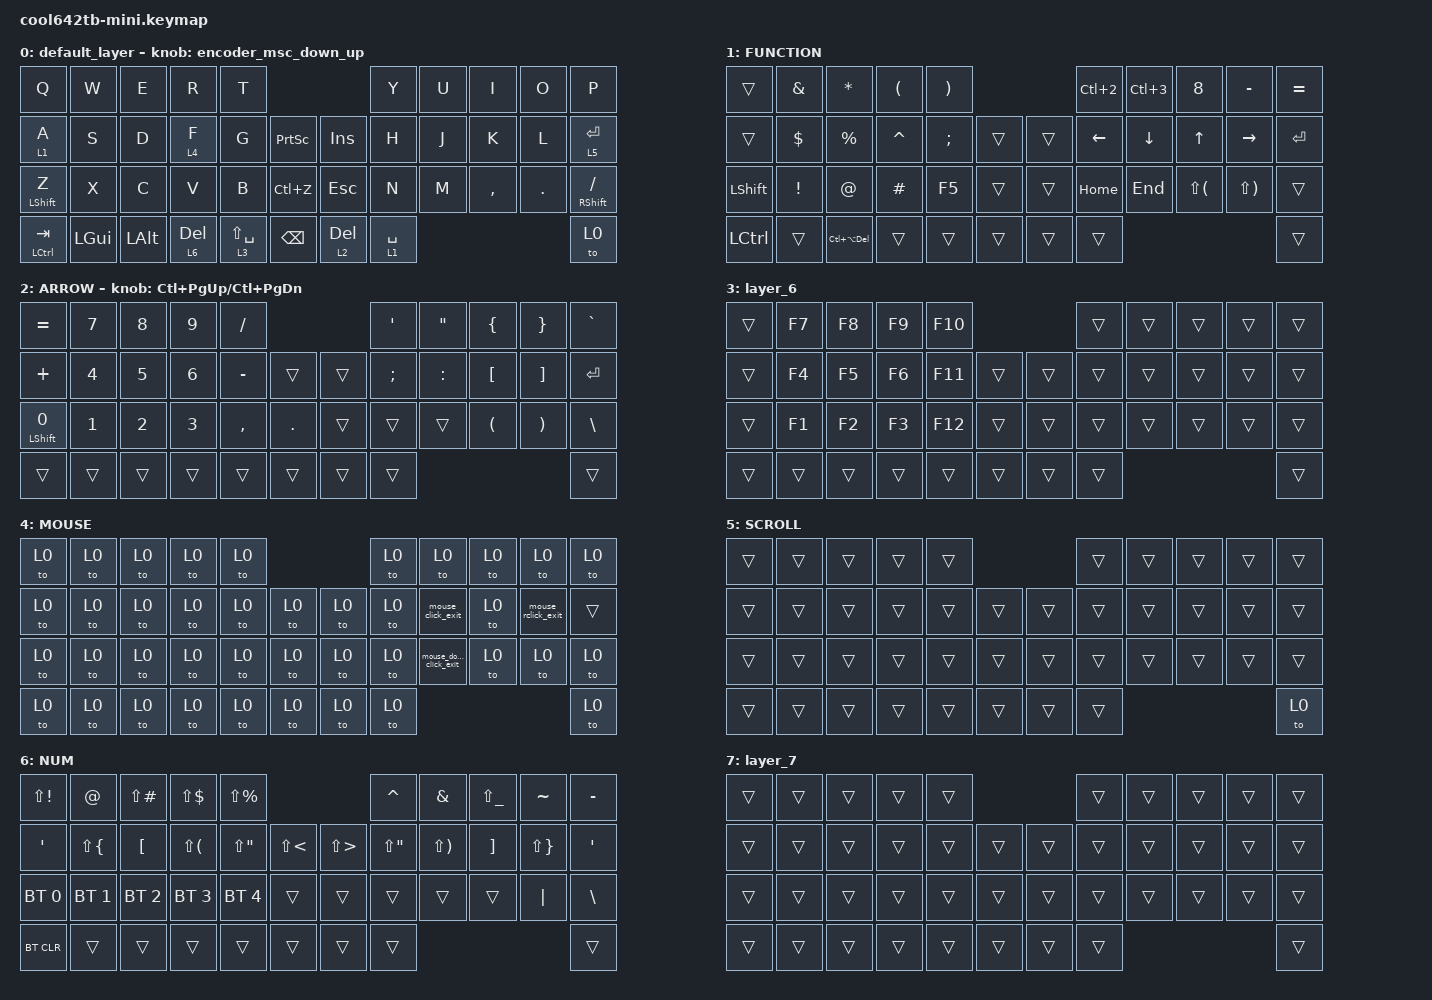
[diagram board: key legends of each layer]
#include <behaviors.dtsi>
#include <dt-bindings/zmk/bt.h>
#include <dt-bindings/zmk/keys.h>
#include <dt-bindings/zmk/pointing.h>

#define MOUSE 4
#define SCROLL 5
#define NUM 6
#define ZMK_POINTING_DEFAULT_SCRL_VAL 80

&mt {
    flavor = "balanced";
    quick-tap-ms = <0>;
};

/ {
    combos {
        compatible = "zmk,combos";

        shift_tab {
            bindings = <&kp LANG2>;
            key-positions = <12 13>;
        };

        lang {
            bindings = <&kp LANG1>;
            key-positions = <18 19>;
        };
    };

    behaviors {
        encoder_msc_down_up: encoder_msc_down_up {
            compatible = "zmk,behavior-sensor-rotate";
            label = "ENCODER_MSC_DOWN_UP";
            #sensor-binding-cells = <0>;
            bindings = <&msc SCRL_UP>, <&msc SCRL_DOWN>;

            tap-ms = <20>;
        };

        mouse_click_exit: mouse_click_exit {
            compatible = "zmk,behavior-macro";
            #binding-cells = <0>;
            bindings
                = <&macro_press &mkp MB1>
                , <&macro_pause_for_release>
                , <&macro_release &mkp MB1>
                , <&macro_wait_time 0>
                , <&to 0>
                ;
        };

        mouse_double_click_exit: mouse_double_click_exit {
            compatible = "zmk,behavior-macro";
            #binding-cells = <0>;
            bindings
                = <&macro_tap &mkp MB1>
                , <&macro_tap &mkp MB1>
                , <&macro_wait_time 0>
                , <&to 0>
                ;
        };

        mouse_rclick_exit: mouse_rclick_exit {
            compatible = "zmk,behavior-macro";
            #binding-cells = <0>;
            bindings
                = <&macro_press &mkp MB2>
                , <&macro_pause_for_release>
                , <&macro_release &mkp MB2>
                , <&macro_wait_time 0>
                , <&to 0>
                ;
        };
    };

    keymap {
        compatible = "zmk,keymap";

        default_layer {
            bindings = <
&kp Q          &kp W         &kp E         &kp R         &kp T                                               &kp Y        &kp U  &kp I      &kp O    &kp P
&lt 1 A        &kp S         &kp D         &lt 4 F       &kp G            &kp PRINTSCREEN      &kp INSERT    &kp H        &kp J  &kp K      &kp L    &lt 5 ENTER
&mt LSHIFT Z   &kp X         &kp C         &kp V         &kp B            &kp LC(Z)            &kp ESC       &kp N        &kp M  &kp COMMA  &kp DOT  &mt RIGHT_SHIFT SLASH
&mt LCTRL TAB  &kp LEFT_GUI  &kp LEFT_ALT  &lt 6 DELETE  &lt 3 LS(SPACE)  &kp BACKSPACE        &lt 2 DELETE  &lt 1 SPACE                             &to 0
            >;

            sensor-bindings = <&encoder_msc_down_up>;
        };

        FUNCTION {
            bindings = <
&trans            &kp AMPS    &kp ASTRK           &kp LEFT_PARENTHESIS  &kp RIGHT_PARENTHESIS                      &kp LC(NUMBER_2)  &kp LC(NUMBER_3)  &kp N8                    &kp MINUS                  &kp EQUAL
&trans            &kp DOLLAR  &kp PERCENT         &kp CARET             &kp SEMI               &trans      &trans  &kp LEFT          &kp DOWN          &kp UP                    &kp RIGHT                  &kp ENTER
&kp LSHIFT        &kp EXCL    &kp AT              &kp HASH              &kp F5                 &trans      &trans  &kp HOME          &kp END           &kp LS(LEFT_PARENTHESIS)  &kp LS(RIGHT_PARENTHESIS)  &trans
&kp LEFT_CONTROL  &trans      &kp LC(LA(DELETE))  &trans                &trans                 &trans      &trans  &trans                                                                                   &trans
            >;
        };

        ARROW {
            bindings = <
&kp EQUAL      &kp N7  &kp N8  &kp N9  &kp SLASH                       &kp APOS  &kp DOUBLE_QUOTES  &kp LEFT_BRACE        &kp RIGHT_BRACE    &kp GRAVE
&kp PLUS       &kp N4  &kp N5  &kp N6  &kp MINUS  &trans       &trans  &kp SEMI  &kp COLON          &kp LEFT_BRACKET      &kp RIGHT_BRACKET  &kp ENTER
&mt LSHIFT N0  &kp N1  &kp N2  &kp N3  &kp COMMA  &kp DOT      &trans  &trans    &trans             &kp LEFT_PARENTHESIS  &kp RPAR           &kp BACKSLASH
&trans         &trans  &trans  &trans  &trans     &trans       &trans  &trans                                                                &trans
            >;

            sensor-bindings = <&inc_dec_kp LC(PAGE_UP) LC(PAGE_DOWN)>;
        };

        layer_6 {
            bindings = <
&trans  &kp F7  &kp F8  &kp F9  &kp F10                      &trans  &trans  &trans  &trans  &trans
&trans  &kp F4  &kp F5  &kp F6  &kp F11  &trans      &trans  &trans  &trans  &trans  &trans  &trans
&trans  &kp F1  &kp F2  &kp F3  &kp F12  &trans      &trans  &trans  &trans  &trans  &trans  &trans
&trans  &trans  &trans  &trans  &trans   &trans      &trans  &trans                          &trans
            >;
        };

        MOUSE {
            bindings = <
&to 0  &to 0  &to 0  &to 0  &to 0                      &to 0  &to 0    &to 0  &to 0    &to 0
&to 0  &to 0  &to 0  &to 0  &to 0  &to 0      &to 0  &to 0  &mouse_click_exit  &to 0  &mouse_rclick_exit  &trans
&to 0  &to 0  &to 0  &to 0  &to 0  &to 0      &to 0  &to 0  &mouse_double_click_exit    &to 0  &to 0    &to 0
&to 0  &to 0  &to 0  &to 0  &to 0  &to 0      &to 0  &to 0                              &to 0
            >;
        };

        SCROLL {
            bindings = <
&trans  &trans  &trans  &trans  &trans                      &trans  &trans  &trans  &trans  &trans
&trans  &trans  &trans  &trans  &trans  &trans      &trans  &trans  &trans  &trans  &trans  &trans
&trans  &trans  &trans  &trans  &trans  &trans      &trans  &trans  &trans  &trans  &trans  &trans
&trans  &trans  &trans  &trans  &trans  &trans      &trans  &trans                          &to 0
            >;
        };

        NUM {
            bindings = <
&kp LS(EXCL)  &kp AT        &kp LS(POUND)  &kp LS(DLLR)  &kp LS(PRCNT)                              &kp CARET    &kp AMPERSAND  &kp LS(UNDER)  &kp TILDE     &kp MINUS
&kp SQT       &kp LS(LBRC)  &kp LBKT       &kp LS(LPAR)  &kp LS(DQT)    &kp LS(LT)      &kp LS(GT)  &kp LS(DQT)  &kp LS(RPAR)   &kp RBKT       &kp LS(RBRC)  &kp SQT
&bt BT_SEL 0  &bt BT_SEL 1  &bt BT_SEL 2   &bt BT_SEL 3  &bt BT_SEL 4   &trans          &trans      &trans       &trans         &trans         &kp PIPE      &kp BACKSLASH
&bt BT_CLR    &trans        &trans         &trans        &trans         &trans          &trans      &trans                                                   &trans
            >;
        };

        layer_7 {
            bindings = <
&trans  &trans  &trans  &trans  &trans                      &trans  &trans  &trans  &trans  &trans
&trans  &trans  &trans  &trans  &trans  &trans      &trans  &trans  &trans  &trans  &trans  &trans
&trans  &trans  &trans  &trans  &trans  &trans      &trans  &trans  &trans  &trans  &trans  &trans
&trans  &trans  &trans  &trans  &trans  &trans      &trans  &trans                          &trans
            >;
        };
    };
};
